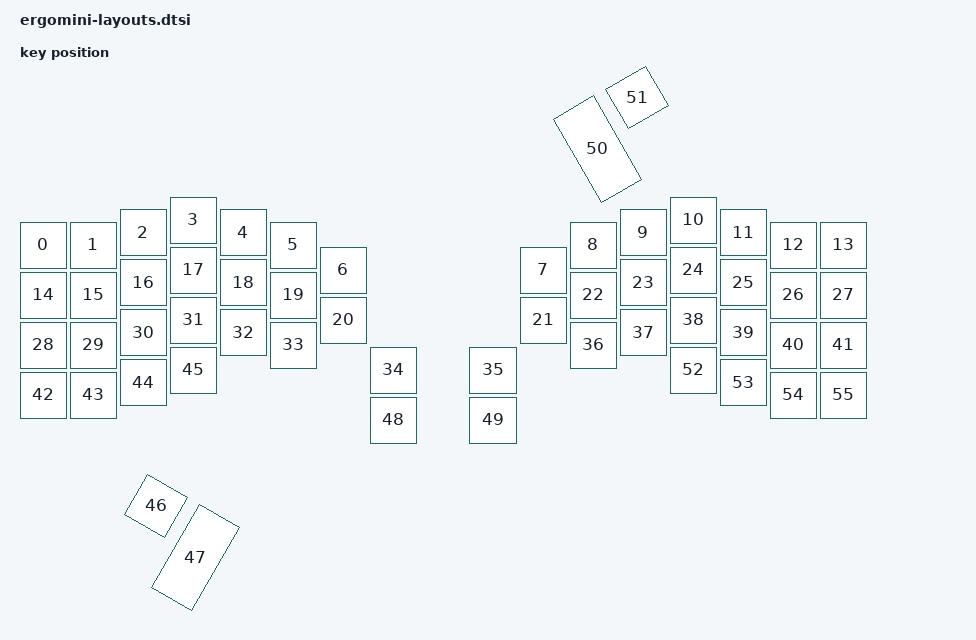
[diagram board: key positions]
#include <physical_layouts.dtsi>

/{
ergodash_mini_default_layout: ergodash_mini_default_layout {
        compatible = "zmk,physical-layout";
        display-name = "default";

        keys  //                     w   h    x    y     rot    rx    ry
            = <&key_physical_attrs 100 100    0    50       0     0     0>
            , <&key_physical_attrs 100 100  100    50       0     0     0>
            , <&key_physical_attrs 100 100  200    25       0     0     0>
            , <&key_physical_attrs 100 100  300    0        0     0     0>
            , <&key_physical_attrs 100 100  400    25       0     0     0>
            , <&key_physical_attrs 100 100  500    50       0     0     0>
            , <&key_physical_attrs 100 100  600    100      0     0     0>
            , <&key_physical_attrs 100 100 1000    100      0     0     0>
            , <&key_physical_attrs 100 100 1100    50       0     0     0>
            , <&key_physical_attrs 100 100 1200    25       0     0     0>
            , <&key_physical_attrs 100 100 1300    0        0     0     0>
            , <&key_physical_attrs 100 100 1400    25       0     0     0>
            , <&key_physical_attrs 100 100 1500    50       0     0     0>
            , <&key_physical_attrs 100 100 1600    50       0     0     0>
           
            , <&key_physical_attrs 100 100  0      150      0     0     0>
            , <&key_physical_attrs 100 100  100    150      0     0     0>
            , <&key_physical_attrs 100 100  200    125      0     0     0>
            , <&key_physical_attrs 100 100  300    100      0     0     0>
            , <&key_physical_attrs 100 100  400    125      0     0     0>
            , <&key_physical_attrs 100 100  500    150      0     0     0>
            , <&key_physical_attrs 100 100  600    200      0     0     0>
            , <&key_physical_attrs 100 100 1000    200      0     0     0>
            , <&key_physical_attrs 100 100 1100    150      0     0     0>
            , <&key_physical_attrs 100 100 1200    125      0     0     0>
            , <&key_physical_attrs 100 100 1300    100      0     0     0>
            , <&key_physical_attrs 100 100 1400    125      0     0     0>
            , <&key_physical_attrs 100 100 1500    150      0     0     0>
            , <&key_physical_attrs 100 100 1600    150      0     0     0>
            
            , <&key_physical_attrs 100 100  0      250      0     0     0>
            , <&key_physical_attrs 100 100  100    250      0     0     0>
            , <&key_physical_attrs 100 100  200    225      0     0     0>
            , <&key_physical_attrs 100 100  300    200      0     0     0>
            , <&key_physical_attrs 100 100  400    225      0     0     0>
            , <&key_physical_attrs 100 100  500    250      0     0     0>
            , <&key_physical_attrs 100 100  700    300      0     0     0>
            , <&key_physical_attrs 100 100  900    300      0     0     0>
            , <&key_physical_attrs 100 100 1100    250      0     0     0>
            , <&key_physical_attrs 100 100 1200    225      0     0     0>
            , <&key_physical_attrs 100 100 1300    200      0     0     0>
            , <&key_physical_attrs 100 100 1400    225      0     0     0>
            , <&key_physical_attrs 100 100 1500    250      0     0     0>
            , <&key_physical_attrs 100 100 1600    250      0     0     0>

            , <&key_physical_attrs 100 100  0      350      0     0     0>
            , <&key_physical_attrs 100 100  100    350      0     0     0>
            , <&key_physical_attrs 100 100  200    325      0     0     0>
            , <&key_physical_attrs 100 100  300    300      0     0     0>
            , <&key_physical_attrs 100 100  500    350      3000     0     0>
            , <&key_physical_attrs 100 200  620    350      3000     0     0>
            , <&key_physical_attrs 100 100  700    400      0     0     0>
            , <&key_physical_attrs 100 100  900    400      0     0     0>
            , <&key_physical_attrs 100 200  1000   400    (-3000)     0     0>
            , <&key_physical_attrs 100 100 1120    400     (-3000)     0     0>
            , <&key_physical_attrs 100 100 1300    300      0     0     0>
            , <&key_physical_attrs 100 100 1400    325      0     0     0>
            , <&key_physical_attrs 100 100 1500    350      0     0     0>
            , <&key_physical_attrs 100 100 1600    350      0     0     0>
            ;
    };
    
    ergodash_mini_position_map {
        compatible = "zmk,physical-layout-position-map";

        complete;

        default {
            physical-layout = <&ergodash_mini_default_layout>;
            positions
                = < 0  1  2  3  4  5  6  7  8  9 10 11 12 13>
                , <14 15 16 17 18 19 20 21 22 23 24 25 26 27>
                , <28 29 30 31 32 33 34 35 36 37 38 39 40 41>
                , <42 43 44 45 46 47 48 49 50 51 52 53 54 55>;
        };
    };
};
